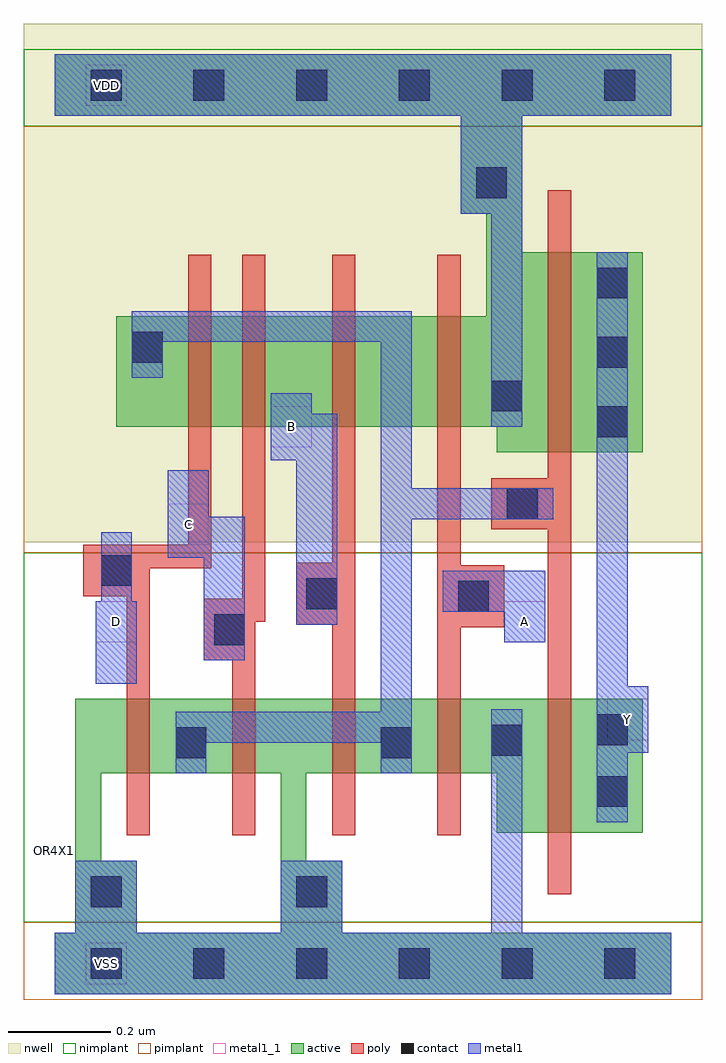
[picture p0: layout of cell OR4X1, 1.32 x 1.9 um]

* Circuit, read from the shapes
.subckt OR4X1 A B C D VDD VSS Y
M1 n1 D VSS VSS nfet w=0.145u l=0.045u
M2 VSS C n1 VSS nfet w=0.145u l=0.045u
M3 n1 B VSS VSS nfet w=0.145u l=0.045u
M4 VSS A n1 VSS nfet w=0.145u l=0.045u
M5 Y n1 VSS VSS nfet w=0.26u l=0.045u
M6 n2 D n1 VDD pfet w=0.215u l=0.045u
M7 n3 C n2 VDD pfet w=0.215u l=0.045u
M8 n4 B n3 VDD pfet w=0.215u l=0.045u
M9 VDD A n4 VDD pfet w=0.215u l=0.045u
M10 Y n1 VDD VDD pfet w=0.39u l=0.045u
.ends

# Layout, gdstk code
import gdstk
lib = gdstk.Library(unit=1e-6, precision=5e-10)
def R(c, l, rs):  # rectangles x0, y0, x1, y1
    for r in rs: c.add(gdstk.rectangle(r[:2], r[2:], *l))
def A(c, l, x, y, w, h, nx, ny, dx, dy):  # array of equal rectangles
    R(c, l, [(x+i*dx, y+j*dy, x+i*dx+w, y+j*dy+h) for i in range(nx) for j in range(ny)])
def P(c, l, *ps):  # polygons
    for p in ps: c.add(gdstk.Polygon(p, *l))
active = (1, 0)
nwell = (2, 0)
poly = (3, 0)
nimplant = (4, 0)
pimplant = (5, 0)
contact = (6, 0)
metal1 = (7, 0)
metal1_1 = (7, 1)

or4x1 = lib.new_cell('OR4X1')
P(or4x1, active, [(1.2,0.06),(0.56,0.06),(0.56,0.2),(0.49,0.2),(0.49,0.37),(0.86,0.37),(0.86,0.255),(1.145,0.255),(1.145,0.515),(0.44,0.515),(0.44,0.06),(0.16,0.06),(0.16,0.2),(0.09,0.2),(0.09,0.37),(0.44,0.37),(0.44,0.515),(0.04,0.515),(0.04,0.06),(0,0.06),(0,-0.06),(1.2,-0.06)],
  [(1.2,1.77),(0,1.77),(0,1.65),(0.79,1.65),(0.79,1.46),(0.84,1.46),(0.84,1.26),(0.12,1.26),(0.12,1.045),(0.86,1.045),(0.86,0.995),(1.145,0.995),(1.145,1.385),(0.91,1.385),(0.91,1.65),(1.2,1.65)])
R(or4x1, nwell, [(-0.06,0.82,1.26,1.83)])
P(or4x1, poly, [(0.96,1.505),(1.005,1.505),(1.005,0.135),(0.96,0.135),(0.96,0.845),(0.85,0.845),(0.85,0.945),(0.96,0.945)],
  [(0.26,1.38),(0.305,1.38),(0.305,0.77),(0.185,0.77),(0.185,0.25),(0.14,0.25),(0.14,0.715),(0.055,0.715),(0.055,0.815),(0.26,0.815)],
  [(0.365,1.38),(0.41,1.38),(0.41,0.665),(0.39,0.665),(0.39,0.25),(0.345,0.25),(0.345,0.59),(0.29,0.59),(0.29,0.71),(0.365,0.71)],
  [(0.54,1.38),(0.585,1.38),(0.585,0.25),(0.54,0.25),(0.54,0.66),(0.47,0.66),(0.47,0.78),(0.54,0.78)],
  [(0.745,1.38),(0.79,1.38),(0.79,0.775),(0.875,0.775),(0.875,0.655),(0.79,0.655),(0.79,0.25),(0.745,0.25)])
R(or4x1, nimplant, [(-0.06,0.08,1.26,0.8), (-0.06,1.63,1.26,1.78)])
R(or4x1, pimplant, [(-0.06,-0.07,1.26,0.08), (-0.06,0.8,1.26,1.63)])
A(or4x1, contact, 0.07, -0.03, 0.06, 0.06, 6, 2, 0.2, 1.71)
A(or4x1, contact, 1.055, 1.025, 0.06, 0.06, 1, 3, 0, 0.135)
R(or4x1, contact, [(0.07,0.11,0.13,0.17), (0.47,0.11,0.53,0.17), (1.055,0.305,1.115,0.365), (0.235,0.4,0.295,0.46), (0.635,0.4,0.695,0.46), (0.85,0.405,0.91,0.465), (1.055,0.425,1.115,0.485), (0.31,0.62,0.37,0.68), (0.785,0.685,0.845,0.745), (0.49,0.69,0.55,0.75), (0.09,0.735,0.15,0.795), (0.88,0.865,0.94,0.925), (0.85,1.075,0.91,1.135), (0.15,1.17,0.21,1.23), (0.82,1.49,0.88,1.55)])
P(or4x1, metal1, [(1.2,0.06),(0.91,0.06),(0.91,0.495),(0.85,0.495),(0.85,0.06),(0.56,0.06),(0.56,0.2),(0.44,0.2),(0.44,0.06),(0.16,0.06),(0.16,0.2),(0.04,0.2),(0.04,0.06),(0,0.06),(0,-0.06),(1.2,-0.06)],
  [(1.2,1.77),(0,1.77),(0,1.65),(0.79,1.65),(0.79,1.46),(0.85,1.46),(0.85,1.045),(0.91,1.045),(0.91,1.65),(1.2,1.65)],
  [(1.155,0.54),(1.115,0.54),(1.115,1.385),(1.055,1.385),(1.055,0.275),(1.115,0.275),(1.115,0.41),(1.155,0.41)],
  [(0.97,0.925),(0.695,0.925),(0.695,1.27),(0.15,1.27),(0.15,1.14),(0.21,1.14),(0.21,1.21),(0.635,1.21),(0.635,0.49),(0.235,0.49),(0.235,0.37),(0.295,0.37),(0.295,0.43),(0.635,0.43),(0.635,0.37),(0.695,0.37),(0.695,0.865),(0.97,0.865)],
  [(0.955,0.765),(0.755,0.765),(0.755,0.685),(0.875,0.685),(0.875,0.625),(0.955,0.625)],
  [(0.55,1.07),(0.5,1.07),(0.5,1.11),(0.42,1.11),(0.42,0.98),(0.47,0.98),(0.47,0.66),(0.55,0.66)],
  [(0.37,0.87),(0.3,0.87),(0.3,0.96),(0.22,0.96),(0.22,0.79),(0.29,0.79),(0.29,0.59),(0.37,0.59)],
  [(0.16,0.705),(0.15,0.705),(0.15,0.84),(0.09,0.84),(0.09,0.705),(0.08,0.705),(0.08,0.545),(0.16,0.545)])
R(or4x1, metal1_1, [(0.06,-0.04,0.14,0.04), (1.075,0.435,1.155,0.515), (0.08,0.625,0.16,0.705), (0.875,0.625,0.955,0.705), (0.22,0.815,0.3,0.895), (0.42,1.005,0.5,1.085), (0.06,1.67,0.14,1.75)])
or4x1.add(gdstk.Label('D', (0.12,0.665), layer=7, texttype=1))
or4x1.add(gdstk.Label('Y', (1.115,0.475), layer=7, texttype=1))
or4x1.add(gdstk.Label('B', (0.46,1.045), layer=7, texttype=1))
or4x1.add(gdstk.Label('C', (0.26,0.855), layer=7, texttype=1))
or4x1.add(gdstk.Label('A', (0.915,0.665), layer=7, texttype=1))
or4x1.add(gdstk.Label('VDD', (0.1,1.71), layer=7, texttype=1))
or4x1.add(gdstk.Label('VSS', (0.1,0), layer=7, texttype=1))
or4x1.add(gdstk.Label('OR4X1', (0,0.22), layer=63, texttype=0))

lib.write_gds('OR4X1.gds')
